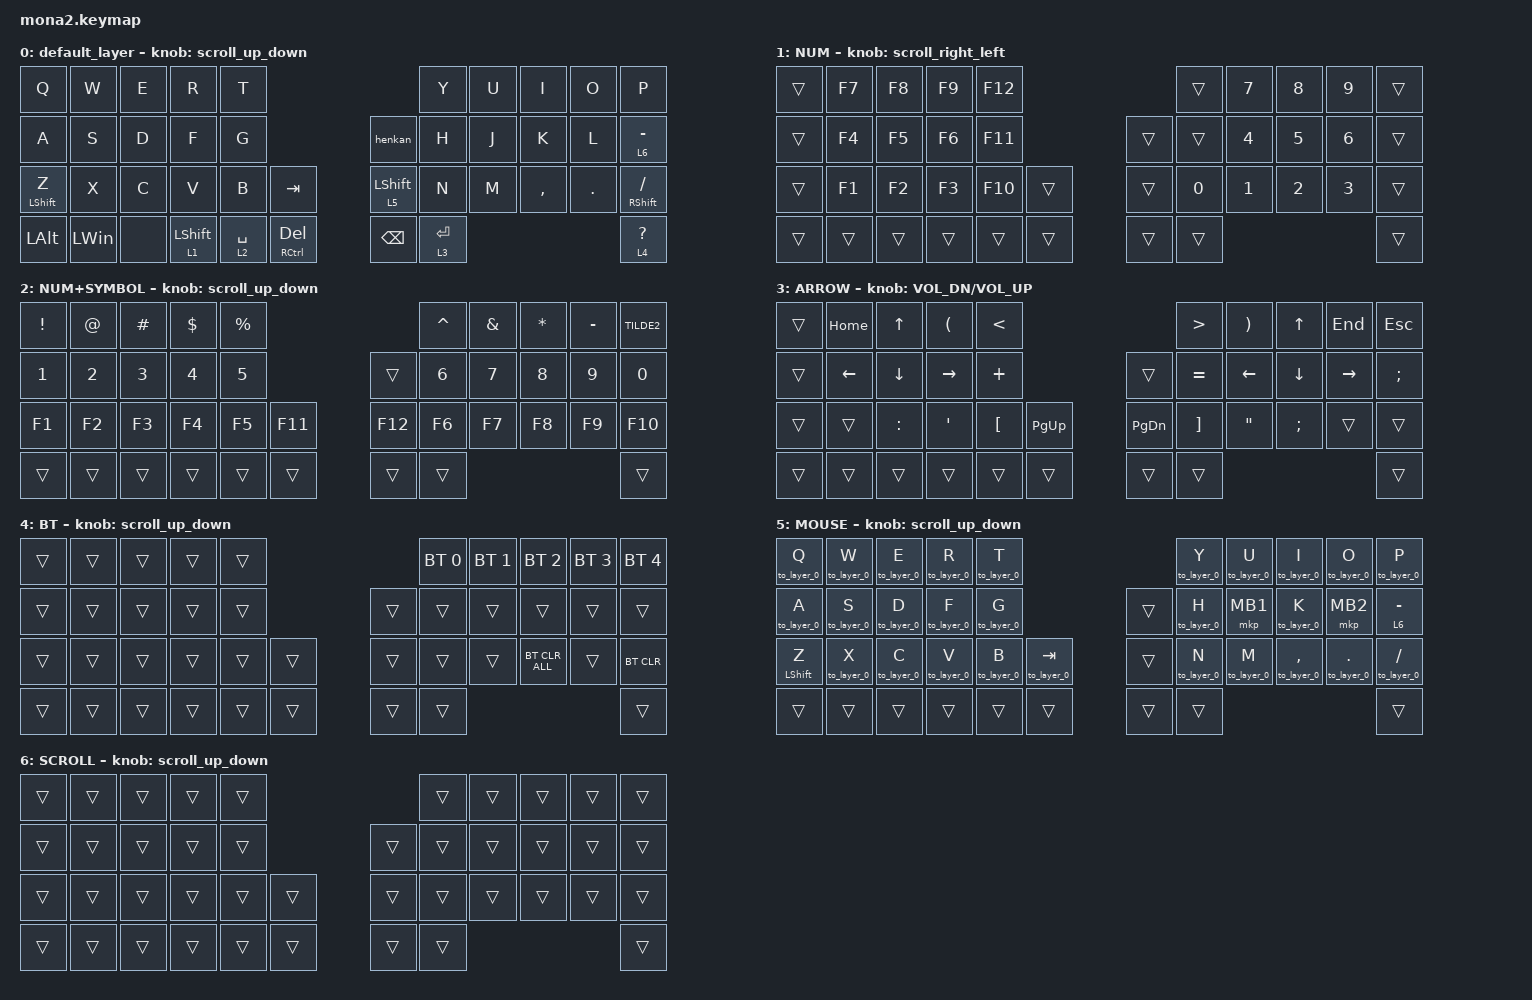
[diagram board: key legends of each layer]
#include <input/processors.dtsi>
#include <dt-bindings/zmk/input_transform.h>
#include <zephyr/dt-bindings/input/input-event-codes.h>
#include <behaviors.dtsi>
#include <dt-bindings/zmk/bt.h>
#include <dt-bindings/zmk/keys.h>
#include <dt-bindings/zmk/pointing.h>

#define ZMK_POINTING_DEFAULT_SCRL_VAL 100
#define MOUSE 5
#define SCROLL 6

&mt {
    flavor = "balanced";
    quick-tap-ms = <0>;
};

&lt {
    quick-tap-ms = <300>;
    flavor = "balanced";
};

/ {
    combos {
        compatible = "zmk,combos";

        layer4_ESC {
            bindings = <&lt 4 ESC>;
            key-positions = <39 38>;
        };

        tab {
            bindings = <&kp TAB>;
            key-positions = <11 12>;
        };
    };

    macros {
        to_layer_0: to_layer_0 {
            compatible = "zmk,behavior-macro-one-param";
            #binding-cells = <1>;
            bindings = <&to 0 &macro_param_1to1 &kp MACRO_PLACEHOLDER>;
            label = "TO_LAYER_0";
        };

        henkan: henkan {
            compatible = "zmk,behavior-macro";
            #binding-cells = <0>;
            bindings =
                <&macro_press>,
                <&kp LEFT_ALT>,
                <&macro_press>,
                <&kp GRAVE>,
                <&macro_release>,
                <&kp LEFT_ALT>;

            label = "HENKAN";
        };
    };

    behaviors {
        lt_to_layer_0: lt_to_layer_0 {
            compatible = "zmk,behavior-hold-tap";
            label = "LAYER_TAP_TO_0";
            bindings = <&mo>, <&to_layer_0>;

            #binding-cells = <2>;
            tapping-term-ms = <200>;
        };

        scroll_up_down: mouse_wheel_up_down {
            compatible = "zmk,behavior-sensor-rotate";
            #sensor-binding-cells = <0>;
            bindings = <&msc SCRL_DOWN>, <&msc SCRL_UP>;

            tap-ms = <20>;
        };

        scroll_right_left: mouse_wheel_right_left {
            compatible = "zmk,behavior-sensor-rotate";
            #sensor-binding-cells = <0>;
            bindings = <&msc SCRL_LEFT>, <&msc SCRL_RIGHT>;

            tap-ms = <20>;
        };
    };

    keymap {
        compatible = "zmk,keymap";

        default_layer {
            bindings = <
&kp Q             &kp W         &kp E  &kp R             &kp T                                              &kp Y        &kp U  &kp I      &kp O    &kp P
&kp A             &kp S         &kp D  &kp F             &kp G                            &henkan           &kp H        &kp J  &kp K      &kp L    &lt 6 MINUS
&mt LEFT_SHIFT Z  &kp X         &kp C  &kp V             &kp B        &kp TAB             &lt 5 LEFT_SHIFT  &kp N        &kp M  &kp COMMA  &kp DOT  &mt RIGHT_SHIFT SLASH
&kp LEFT_ALT      &kp LEFT_WIN  &none  &lt 1 LEFT_SHIFT  &lt 2 SPACE  &mt RCTRL DELETE    &kp BACKSPACE     &lt 3 ENTER                             &lt 4 QUESTION
            >;

            sensor-bindings = <&scroll_up_down>;
        };

        NUM {
            bindings = <
&trans  &kp F7  &kp F8  &kp F9  &kp F12                    &trans        &kp NUMBER_7  &kp NUMBER_8  &kp NUMBER_9  &trans
&trans  &kp F4  &kp F5  &kp F6  &kp F11            &trans  &trans        &kp NUMBER_4  &kp NUMBER_5  &kp NUMBER_6  &trans
&trans  &kp F1  &kp F2  &kp F3  &kp F10  &trans    &trans  &kp NUMBER_0  &kp NUMBER_1  &kp NUMBER_2  &kp NUMBER_3  &trans
&trans  &trans  &trans  &trans  &trans   &trans    &trans  &trans                                                  &trans
            >;

            sensor-bindings = <&scroll_right_left>;
        };

        NUM+SYMBOL {
            bindings = <
&kp EXCLAMATION  &kp AT_SIGN   &kp POUND     &kp DOLLAR    &kp PERCENT                      &kp CARET     &kp AMPERSAND  &kp ASTERISK  &kp MINUS  &kp TILDE2
&kp NUMBER_1     &kp NUMBER_2  &kp NUMBER_3  &kp NUMBER_4  &kp N5                  &trans   &kp NUMBER_6  &kp N7         &kp N8        &kp N9     &kp N0
&kp F1           &kp F2        &kp F3        &kp F4        &kp F5       &kp F11    &kp F12  &kp F6        &kp F7         &kp F8        &kp F9     &kp F10
&trans           &trans        &trans        &trans        &trans       &trans     &trans   &trans                                                &trans
            >;

            sensor-bindings = <&scroll_up_down>;
        };

        ARROW {
            bindings = <
&trans  &kp HOME        &kp UP_ARROW    &kp LEFT_PARENTHESIS  &kp LESS_THAN                                   &kp GREATER_THAN   &kp RIGHT_PARENTHESIS  &kp UP_ARROW    &kp END          &kp ESCAPE
&trans  &kp LEFT_ARROW  &kp DOWN_ARROW  &kp RIGHT_ARROW       &kp PLUS                         &trans         &kp EQUAL          &kp LEFT_ARROW         &kp DOWN_ARROW  &kp RIGHT_ARROW  &kp SEMICOLON
&trans  &trans          &kp COLON       &kp SQT               &kp LEFT_BRACKET  &kp PAGE_UP    &kp PAGE_DOWN  &kp RIGHT_BRACKET  &kp DOUBLE_QUOTES      &kp SEMICOLON   &trans           &trans
&trans  &trans          &trans          &trans                &trans            &trans         &trans         &trans                                                                     &trans
            >;

            sensor-bindings = <&inc_dec_kp C_VOL_DN C_VOL_UP>;
        };

        BT {
            bindings = <
&trans  &trans  &trans  &trans  &trans                    &bt BT_SEL 0  &bt BT_SEL 1  &bt BT_SEL 2    &bt BT_SEL 3  &bt BT_SEL 4
&trans  &trans  &trans  &trans  &trans            &trans  &trans        &trans        &trans          &trans        &trans
&trans  &trans  &trans  &trans  &trans  &trans    &trans  &trans        &trans        &bt BT_CLR_ALL  &trans        &bt BT_CLR
&trans  &trans  &trans  &trans  &trans  &trans    &trans  &trans                                                    &trans
            >;

            sensor-bindings = <&scroll_up_down>;
        };

        MOUSE {
            bindings = <
&to_layer_0 Q     &to_layer_0 W  &to_layer_0 E  &to_layer_0 R  &to_layer_0 T                             &to_layer_0 Y  &to_layer_0 U  &to_layer_0 I      &to_layer_0 O    &to_layer_0 P
&to_layer_0 A     &to_layer_0 S  &to_layer_0 D  &to_layer_0 F  &to_layer_0 G                     &trans  &to_layer_0 H  &mkp MB1       &to_layer_0 K      &mkp MB2         &lt 6 MINUS
&mt LEFT_SHIFT Z  &to_layer_0 X  &to_layer_0 C  &to_layer_0 V  &to_layer_0 B  &to_layer_0 TAB    &trans  &to_layer_0 N  &to_layer_0 M  &to_layer_0 COMMA  &to_layer_0 DOT  &to_layer_0 SLASH
&trans            &trans         &trans         &trans         &trans         &trans             &trans  &trans                                                            &trans
            >;

            sensor-bindings = <&scroll_up_down>;
        };

        SCROLL {
            bindings = <
&trans  &trans  &trans  &trans  &trans                    &trans  &trans  &trans  &trans  &trans
&trans  &trans  &trans  &trans  &trans            &trans  &trans  &trans  &trans  &trans  &trans
&trans  &trans  &trans  &trans  &trans  &trans    &trans  &trans  &trans  &trans  &trans  &trans
&trans  &trans  &trans  &trans  &trans  &trans    &trans  &trans                          &trans
            >;

            sensor-bindings = <&scroll_up_down>;
        };
    };
};
